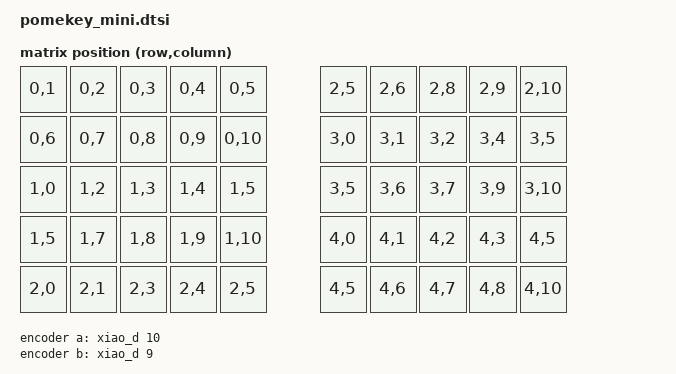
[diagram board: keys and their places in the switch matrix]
/*
* Copyright (c) 2021 The ZMK Contributors
*
* SPDX-License-Identifier: MIT
*/

#include <dt-bindings/zmk/matrix_transform.h>
#include <physical_layouts.dtsi>

/ {
    chosen {
        zmk,kscan = &kscan0;
        zmk,matrix-transform = &default_transform;
        zmk,physical-layout = &physical_layout0;
    };

    default_transform: keymap_transform_0 {
        compatible = "zmk,matrix-transform";
        columns = <10>;
        rows = <5>;
        // 25 keys per side (5x5 logical matrix for Charlieplex mapping)
        // Left side logical columns: 0-5
        // Right side logical columns (with col-offset = 5): 5-10
        map = <
            RC(0,1) RC(0,2) RC(0,3) RC(0,4) RC(0,5)    RC(0,6) RC(0,7) RC(0,8) RC(0,9) RC(0,10)
            RC(1,0) RC(1,2) RC(1,3) RC(1,4) RC(1,5)    RC(1,5) RC(1,7) RC(1,8) RC(1,9) RC(1,10)
            RC(2,0) RC(2,1) RC(2,3) RC(2,4) RC(2,5)    RC(2,5) RC(2,6) RC(2,8) RC(2,9) RC(2,10)
            RC(3,0) RC(3,1) RC(3,2) RC(3,4) RC(3,5)    RC(3,5) RC(3,6) RC(3,7) RC(3,9) RC(3,10)
            RC(4,0) RC(4,1) RC(4,2) RC(4,3) RC(4,5)    RC(4,5) RC(4,6) RC(4,7) RC(4,8) RC(4,10)
        >;
    };

    layouts {
        compatible = "zmk,physical-layouts";
        physical_layout0: physical_layout_0 {
            compatible = "zmk,physical-layout";
            status = "okay";
            display-name = "Default Layout";
            transform = <&default_transform>;
            kscan = <&kscan0>;
            keys
                = <&key_physical_attrs 100 100 0 0 0 0 0>
                , <&key_physical_attrs 100 100 100 0 0 0 0>
                , <&key_physical_attrs 100 100 200 0 0 0 0>
                , <&key_physical_attrs 100 100 300 0 0 0 0>
                , <&key_physical_attrs 100 100 400 0 0 0 0>
                , <&key_physical_attrs 100 100 0 100 0 0 0>
                , <&key_physical_attrs 100 100 100 100 0 0 0>
                , <&key_physical_attrs 100 100 200 100 0 0 0>
                , <&key_physical_attrs 100 100 300 100 0 0 0>
                , <&key_physical_attrs 100 100 400 100 0 0 0>
                , <&key_physical_attrs 100 100 0 200 0 0 0>
                , <&key_physical_attrs 100 100 100 200 0 0 0>
                , <&key_physical_attrs 100 100 200 200 0 0 0>
                , <&key_physical_attrs 100 100 300 200 0 0 0>
                , <&key_physical_attrs 100 100 400 200 0 0 0>
                , <&key_physical_attrs 100 100 0 300 0 0 0>
                , <&key_physical_attrs 100 100 100 300 0 0 0>
                , <&key_physical_attrs 100 100 200 300 0 0 0>
                , <&key_physical_attrs 100 100 300 300 0 0 0>
                , <&key_physical_attrs 100 100 400 300 0 0 0>
                , <&key_physical_attrs 100 100 0 400 0 0 0>
                , <&key_physical_attrs 100 100 100 400 0 0 0>
                , <&key_physical_attrs 100 100 200 400 0 0 0>
                , <&key_physical_attrs 100 100 300 400 0 0 0>
                , <&key_physical_attrs 100 100 400 400 0 0 0>

                , <&key_physical_attrs 100 100 600 0 0 0 0>
                , <&key_physical_attrs 100 100 700 0 0 0 0>
                , <&key_physical_attrs 100 100 800 0 0 0 0>
                , <&key_physical_attrs 100 100 900 0 0 0 0>
                , <&key_physical_attrs 100 100 1000 0 0 0 0>
                , <&key_physical_attrs 100 100 600 100 0 0 0>
                , <&key_physical_attrs 100 100 700 100 0 0 0>
                , <&key_physical_attrs 100 100 800 100 0 0 0>
                , <&key_physical_attrs 100 100 900 100 0 0 0>
                , <&key_physical_attrs 100 100 1000 100 0 0 0>
                , <&key_physical_attrs 100 100 600 200 0 0 0>
                , <&key_physical_attrs 100 100 700 200 0 0 0>
                , <&key_physical_attrs 100 100 800 200 0 0 0>
                , <&key_physical_attrs 100 100 900 200 0 0 0>
                , <&key_physical_attrs 100 100 1000 200 0 0 0>
                , <&key_physical_attrs 100 100 600 300 0 0 0>
                , <&key_physical_attrs 100 100 700 300 0 0 0>
                , <&key_physical_attrs 100 100 800 300 0 0 0>
                , <&key_physical_attrs 100 100 900 300 0 0 0>
                , <&key_physical_attrs 100 100 1000 300 0 0 0>
                , <&key_physical_attrs 100 100 600 400 0 0 0>
                , <&key_physical_attrs 100 100 700 400 0 0 0>
                , <&key_physical_attrs 100 100 800 400 0 0 0>
                , <&key_physical_attrs 100 100 900 400 0 0 0>
                , <&key_physical_attrs 100 100 1000 400 0 0 0>
                ;
        };
    };

    kscan0: kscan_0 {
        compatible = "zmk,kscan-charlieplex";
        status = "okay";
        wakeup-source;
        gpios
            = <&xiao_d 0 GPIO_ACTIVE_HIGH>
            , <&xiao_d 1 GPIO_ACTIVE_HIGH>
            , <&xiao_d 2 GPIO_ACTIVE_HIGH>
            , <&xiao_d 3 GPIO_ACTIVE_HIGH>
            , <&xiao_d 4 GPIO_ACTIVE_HIGH>
            , <&xiao_d 5 GPIO_ACTIVE_HIGH>
            ;
        bus-type = <0>;
    };
    
    encoder: encoder {
        compatible = "alps,ec11";
        steps = <80>;
        status = "disabled";
        a-gpios = <&xiao_d 10 (GPIO_ACTIVE_HIGH | GPIO_PULL_UP)>; // P1.15 D10 (Encoder A)
        b-gpios = <&xiao_d 9 (GPIO_ACTIVE_HIGH | GPIO_PULL_UP)>;  // P1.14 D9  (Encoder B)
    };

    sensors: sensors {
        compatible = "zmk,keymap-sensors";
        sensors = <&encoder>;
        triggers-per-rotation = <20>;
    };
};

&pinctrl {
    spi0_default: spi0_default {
        group1 {
            psels = <NRF_PSEL(SPIM_SCK, 0, 5)>,   // P0.05 (D5) - SCLK
                    <NRF_PSEL(SPIM_MOSI, 0, 4)>,   // P0.04 (D4) - SDIO/MOSI
                    <NRF_PSEL(SPIM_MISO, 0, 4)>;   // P0.04 (D4) - MISO (shared)
        };
    };
    spi0_sleep: spi0_sleep {
        group1 {
            psels = <NRF_PSEL(SPIM_SCK, 0, 5)>,
                    <NRF_PSEL(SPIM_MOSI, 0, 4)>,
                    <NRF_PSEL(SPIM_MISO, 0, 4)>;
            low-power-enable;
        };
    };
};

&spi0 {
    status = "okay";
    compatible = "nordic,nrf-spim";
    pinctrl-0 = <&spi0_default>;
    pinctrl-1 = <&spi0_sleep>;
    pinctrl-names = "default", "sleep";
    cs-gpios = <&gpio0 9 GPIO_ACTIVE_LOW>; // NFC1 P0.09
    
    trackball: trackball@0 {
        compatible = "pixart,paw3222";
        reg = <0>;
        spi-max-frequency = <2000000>;
        irq-gpios = <&xiao_d 0 (GPIO_ACTIVE_LOW | GPIO_PULL_UP)>; // D0: motion
    };

    trackball_listener: trackball_listener {
        compatible = "zmk,input-listener";
        device = <&trackball>;
    };
};
